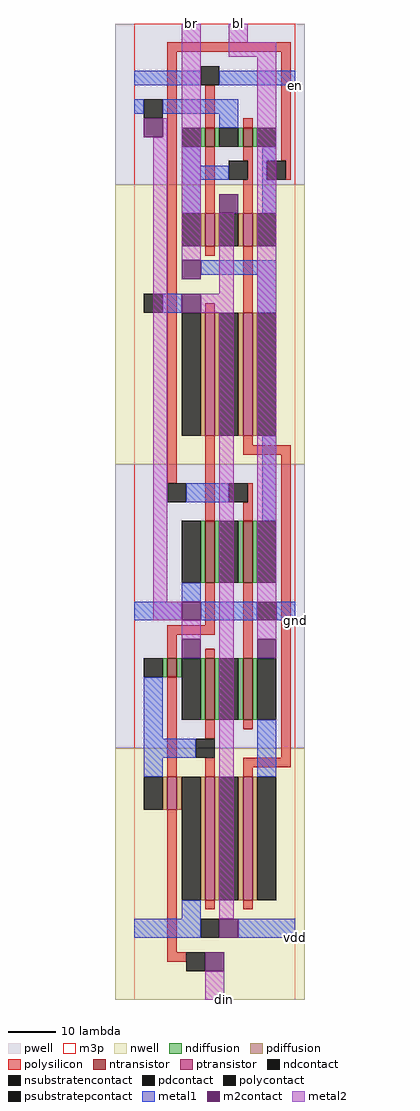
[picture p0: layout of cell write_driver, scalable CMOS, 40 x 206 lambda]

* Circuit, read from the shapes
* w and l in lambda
.subckt write_driver bl br din en gnd vdd
M1 gnd din n1 gnd nfet w=4 l=2
M2 n2 n1 gnd gnd nfet w=13 l=2
M3 n3 din gnd gnd nfet w=13 l=2
M4 gnd en n4 gnd nfet w=4 l=2
M5 bl n5 n2 gnd nfet w=13 l=2
M6 br n5 n3 gnd nfet w=13 l=2
M7 n5 n4 gnd gnd nfet w=4 l=2
M8 vdd din n1 vdd pfet w=7 l=2
M9 n6 n1 vdd vdd pfet w=26 l=2
M10 n7 din vdd vdd pfet w=26 l=2
M11 vdd en n4 vdd pfet w=7 l=2
M12 bl n4 n6 vdd pfet w=26 l=2
M13 br n4 n7 vdd pfet w=26 l=2
M14 n5 n4 vdd vdd pfet w=7 l=2
.ends

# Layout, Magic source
magic
tech scmos
<< nwell >>
rect -4 113 36 172
rect -4 0 36 53
<< pwell >>
rect -4 172 36 206
rect -4 53 36 113
<< ntransistor >>
rect 15 180 17 184
rect 23 180 25 184
rect 15 88 17 101
rect 23 88 25 101
rect 7 68 9 72
rect 15 59 17 72
rect 23 59 25 72
<< ptransistor >>
rect 15 159 17 166
rect 23 159 25 166
rect 15 119 17 145
rect 23 119 25 145
rect 7 40 9 47
rect 15 21 17 47
rect 23 21 25 47
<< ndiffusion >>
rect 14 180 15 184
rect 17 180 18 184
rect 22 180 23 184
rect 25 180 26 184
rect 14 88 15 101
rect 17 88 18 101
rect 22 88 23 101
rect 25 88 26 101
rect 6 68 7 72
rect 9 68 10 72
rect 14 59 15 72
rect 17 59 18 72
rect 22 59 23 72
rect 25 59 26 72
<< pdiffusion >>
rect 14 159 15 166
rect 17 159 18 166
rect 22 159 23 166
rect 25 159 26 166
rect 14 119 15 145
rect 17 119 18 145
rect 22 119 23 145
rect 25 119 26 145
rect 6 40 7 47
rect 9 40 10 47
rect 14 21 15 47
rect 17 21 18 47
rect 22 21 23 47
rect 25 21 26 47
<< ndcontact >>
rect 10 180 14 184
rect 18 180 22 184
rect 26 180 30 184
rect 10 88 14 101
rect 18 88 22 101
rect 26 88 30 101
rect 2 68 6 72
rect 10 59 14 72
rect 18 59 22 72
rect 26 59 30 72
<< pdcontact >>
rect 10 159 14 166
rect 18 159 22 166
rect 26 159 30 166
rect 10 119 14 145
rect 18 119 22 145
rect 26 119 30 145
rect 2 40 6 47
rect 10 21 14 47
rect 18 21 22 47
rect 26 21 30 47
<< psubstratepcontact >>
rect 2 186 6 190
rect 26 80 30 84
<< nsubstratencontact >>
rect 2 145 6 149
rect 14 13 18 17
<< polysilicon >>
rect 7 200 33 202
rect 7 109 9 200
rect 15 184 17 193
rect 23 184 25 186
rect 15 166 17 180
rect 23 177 25 180
rect 31 177 33 200
rect 24 173 25 177
rect 32 173 33 177
rect 23 166 25 173
rect 15 157 17 159
rect 15 145 17 147
rect 23 145 25 159
rect 15 101 17 119
rect 23 117 25 119
rect 23 115 33 117
rect 24 105 25 109
rect 23 101 25 105
rect 15 79 17 88
rect 7 77 17 79
rect 7 72 9 77
rect 15 72 17 74
rect 23 72 25 88
rect 7 47 9 68
rect 15 55 17 59
rect 23 57 25 59
rect 31 51 33 115
rect 15 47 17 51
rect 23 49 33 51
rect 23 47 25 49
rect 7 10 9 40
rect 15 19 17 21
rect 23 19 25 21
rect 7 8 11 10
<< polycontact >>
rect 14 193 18 197
rect 20 173 24 177
rect 28 173 32 177
rect 7 105 11 109
rect 20 105 24 109
rect 13 51 17 55
rect 11 6 15 10
<< metal1 >>
rect 0 193 14 196
rect 18 193 34 196
rect 0 187 2 190
rect 6 187 22 190
rect 18 184 22 187
rect 10 176 14 180
rect 27 177 30 180
rect 10 173 20 176
rect 27 173 28 177
rect 10 166 14 173
rect 27 166 30 173
rect 14 153 30 156
rect 6 145 10 149
rect 26 145 30 153
rect 11 105 20 109
rect 27 101 30 119
rect 10 84 14 88
rect 0 80 10 84
rect 14 80 26 84
rect 30 80 34 84
rect 2 55 6 68
rect 2 51 13 55
rect 2 47 6 51
rect 26 47 30 59
rect 10 17 14 21
rect 0 13 14 17
rect 22 13 34 17
<< m2contact >>
rect 2 182 6 186
rect 18 166 22 170
rect 10 152 14 156
rect 10 145 14 149
rect 10 80 14 84
rect 10 72 14 76
rect 26 72 30 76
rect 18 13 22 17
rect 15 6 19 10
<< metal2 >>
rect 6 182 7 186
rect 4 84 7 182
rect 10 156 14 206
rect 20 202 24 206
rect 20 199 30 202
rect 18 149 21 166
rect 14 145 21 149
rect 4 80 10 84
rect 10 76 14 80
rect 18 17 21 145
rect 26 76 30 199
rect 15 0 19 6
<< m3p >>
rect 0 0 34 206
<< labels >>
rlabel metal2 19 0 19 0 1 din
rlabel metal1 34 13 34 13 7 vdd
rlabel metal1 34 80 34 80 7 gnd
rlabel metal1 34 193 34 193 1 en
rlabel metal2 22 206 22 206 5 bl
rlabel metal2 12 206 12 206 5 br
<< end >>
